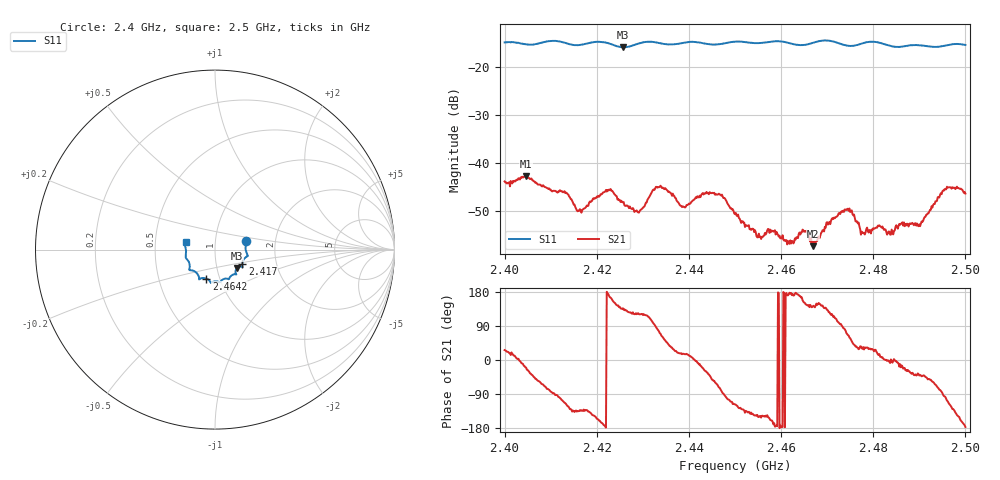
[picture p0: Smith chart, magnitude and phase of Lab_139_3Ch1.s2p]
# Hz S RI R 50
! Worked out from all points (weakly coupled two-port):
!   601 points, 2.4 GHz to 2.5 GHz, reference 50 ohm
!   highest |S21| = -42.68 dB at 2.4047 GHz (marker M1); lowest = -57.2 dB at 2.467 GHz (marker M2)
!   lowest |S11| = -15.9 dB at 2.4257 GHz (marker M3), VSWR 1.38, Z = 62.5 - j13.1 ohm
!   |S11| at or under -10 dB: start of sweep to end of sweep
!   S12 and S22 are empty: the file has one direction only
!   S11 on the Smith chart (normalised r, x): 2.4 GHz: 1.41, +0.14; 2.417 GHz: 1.34, -0.22; 2.4642 GHz: 0.86, -0.29; 2.5 GHz: 0.72, +0.06
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2.4e9  0.1729 0.0488  0.00581 0.00285  0 0  0 0
2.404667e9  0.1709 0.0178  0.0069 -0.00252  0 0  0 0
2.416667e9  0.1529 -0.0742  -0.00207 -0.00226  0 0  0 0
2.417e9  0.1522 -0.0782  -0.00232 -0.00238  0 0  0 0
2.4225e9  0.149 -0.0945  -0.00517 0.000548  0 0  0 0
2.425667e9  0.1228 -0.102  -0.00284 0.0027  0 0  0 0
2.429333e9  0.1159 -0.1332  -0.00163 0.00276  0 0  0 0
2.433333e9  0.1133 -0.1371  0.00113 0.00555  0 0  0 0
2.438833e9  0.0805 -0.1587  0.0034 0.00099  0 0  0 0
2.446667e9  0.0427 -0.167  0.00136 -0.00455  0 0  0 0
2.45e9  0.0289 -0.1809  -0.00135 -0.00264  0 0  0 0
2.455167e9  0.000629 -0.1768  -0.00162 -0.000915  0 0  0 0
2.462167e9  -0.0311 -0.1719  -0.00146 7.64e-05  0 0  0 0
2.464167e9  -0.0477 -0.1617  -0.00178 0.000365  0 0  0 0
2.466667e9  -0.0759 -0.1593  -0.0011 0.00095  0 0  0 0
2.467e9  -0.0787 -0.16  -0.0011 0.000825  0 0  0 0
2.474333e9  -0.1001 -0.1328  0.00122 0.00312  0 0  0 0
2.477833e9  -0.1341 -0.1151  0.00158 0.00107  0 0  0 0
2.483333e9  -0.1407 -0.09  0.00195 -5.02e-05  0 0  0 0
2.490167e9  -0.1631 -0.0394  0.00172 -0.00141  0 0  0 0
2.496e9  -0.1666 0.0197  -0.00167 -0.00546  0 0  0 0
2.5e9  -0.1636 0.0427  -0.00483 -0.000265  0 0  0 0
